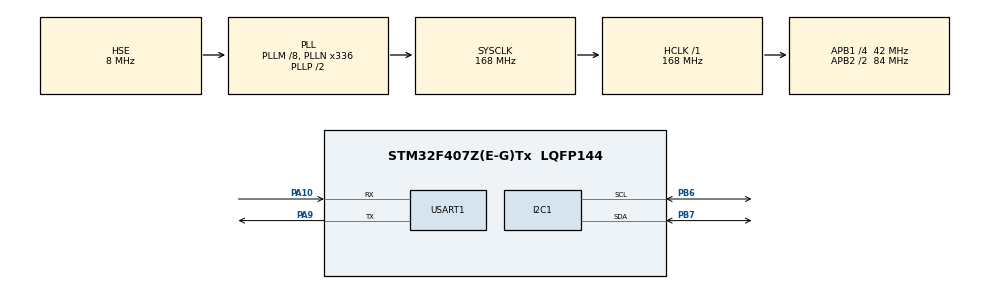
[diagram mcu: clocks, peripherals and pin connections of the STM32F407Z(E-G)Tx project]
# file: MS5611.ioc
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I2C1.I2C_Mode=I2C_Standard
Mcu.Family=STM32F4
Mcu.Name=STM32F407Z(E-G)Tx
Mcu.Package=LQFP144
NVIC.PriorityGroup=NVIC_PRIORITYGROUP_4
PA10.Mode=Asynchronous
PA10.Signal=USART1_RX
PA9.Mode=Asynchronous
PA9.Signal=USART1_TX
PB6.Mode=I2C
PB6.Signal=I2C1_SCL
PB7.Mode=I2C
PB7.Signal=I2C1_SDA
PH0-OSC_IN.Mode=HSE-External-Oscillator
PH0-OSC_IN.Signal=RCC_OSC_IN
PH1-OSC_OUT.Mode=HSE-External-Oscillator
PH1-OSC_OUT.Signal=RCC_OSC_OUT
ProjectManager.HeapSize=0x200
ProjectManager.StackSize=0x400
ProjectManager.TargetToolchain=MDK-ARM V5.27
RCC.48MHZClocksFreq_Value=84000000
RCC.AHBFreq_Value=168000000
RCC.APB1CLKDivider=RCC_HCLK_DIV4
RCC.APB1Freq_Value=42000000
RCC.APB1TimFreq_Value=84000000
RCC.APB2CLKDivider=RCC_HCLK_DIV2
RCC.APB2Freq_Value=84000000
RCC.APB2TimFreq_Value=168000000
RCC.CortexFreq_Value=168000000
RCC.HCLKFreq_Value=168000000
RCC.HSE_VALUE=8000000
RCC.HSI_VALUE=16000000
RCC.LSE_VALUE=32768
RCC.PLLM=8
RCC.PLLN=336
RCC.PLLSourceVirtual=RCC_PLLSOURCE_HSE
RCC.SYSCLKFreq_VALUE=168000000
RCC.SYSCLKSource=RCC_SYSCLKSOURCE_PLLCLK
RCC.VCOOutputFreq_Value=336000000
USART1.VirtualMode=VM_ASYNC
board=custom

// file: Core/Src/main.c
/* USER CODE BEGIN Header */
/**
  ******************************************************************************
  * @file           : main.c
  * @brief          : Main program body
  ******************************************************************************
  * @attention
  *
  * <h2><center>&copy; Copyright (c) 2021 STMicroelectronics.
  * All rights reserved.</center></h2>
  *
  * This software component is licensed by ST under BSD 3-Clause license,
  * the "License"; You may not use this file except in compliance with the
  * License. You may obtain a copy of the License at:
  *                        opensource.org/licenses/BSD-3-Clause
  *
  ******************************************************************************
  */
/* USER CODE END Header */
#include "main.h"
#include "i2c.h"
#include "usart.h"
#include "gpio.h"

/* USER CODE BEGIN Includes */
#include "math.h"
/* USER CODE END Includes */

/* USER CODE BEGIN PTD */
#define  MS561101BA_SlaveAddress 	(0x77)  //定义器件在IIC总线中的从地址
#define  MS561101BA_D1 				(0x40)
#define  MS561101BA_D2 				(0x50)
#define  MS561101BA_RST 			(0x1E)
#define  MS561101BA_PROM_RD 		(0xA0) 	//出厂校准值起始地址

uint16_t Cal_C[8];

uint32_t D1_Pres,D2_Temp; 	// 存放数字压力和温度
double dT , Temperature , T2;	//实际和参考温度之间的差异,实际温度,中间值

double Pressure;					//温度补偿大气压
double OFF , SENS;  			//实际温度抵消,实际温度灵敏度
double Aux , OFF2 , SENS2;  		//温度校验值
double MS5611_Pressure;
static double Alt_offset_Pa=1013.25;
double paOffsetNum = 0;
uint16_t  paInitCnt=0;
uint8_t paOffsetInited=0;

/* USER CODE END PTD */

void SystemClock_Config(void);

/* USER CODE BEGIN 0 */
uint8_t MS5611_Write(uint8_t addr,uint8_t commnd,uint8_t len)
{
     HAL_I2C_Master_Transmit(&hi2c1, (addr<<1), &commnd, len, 0xfff);
     return 0;
}

uint8_t MS5611_Read_Len(uint8_t addr, uint8_t *buf, uint8_t len)
{
    HAL_I2C_Master_Receive(&hi2c1, (addr<<1), buf, len, 0xfff);
    return 0;
}

uint8_t MS561101BA_RESET(void)
{
	uint8_t res;
	MS5611_Write(MS561101BA_SlaveAddress,MS561101BA_RST,1);
	return res;
}

uint8_t MS561101BA_READ_PROM(void)
{
	uint8_t buf[2],i;

	for(i=0;i<8;i++)
	{
		MS5611_Write(MS561101BA_SlaveAddress,MS561101BA_PROM_RD+i*2,1);
		MS5611_Read_Len(MS561101BA_SlaveAddress,buf,2);
		Cal_C[i]=buf[0]<<8 | buf[1];
		printf("Cal_C[%d]=%d\r\n",i,Cal_C[i]);
	}
	return (Cal_C[0]);
}

uint8_t MS5611_CRC(uint16_t *prom)
{
    int32_t i, j;
    uint32_t res = 0;
    uint8_t zero = 1;
    uint8_t crc = prom[7] & 0xF;
    prom[7] &= 0xFF00;

    // if eeprom is all zeros, we're probably fucked - BUT this will return valid CRC lol
    for (i = 0; i < 8; i++)
	{
        if (prom[i] != 0)
            zero = 0;
    }

    if (zero)
        return 1;

    for (i = 0; i < 16; i++) {
        if (i & 1)
            res ^= ((prom[i >> 1]) & 0x00FF);
        else
            res ^= (prom[i >> 1] >> 8);
        for (j = 8; j > 0; j--) {
            if (res & 0x8000)
                res ^= 0x1800;
            res <<= 1;
        }
    }

    prom[7] |= crc;
    if (crc == ((res >> 12) & 0xF))
        return 0;
	return 1;
}

uint32_t MS561101BA_DO_CONVERSION(uint8_t command)
{
	uint32_t conversion = 0x00;
	uint8_t conv[3];

	MS5611_Write(MS561101BA_SlaveAddress,command,1);
	HAL_Delay(12);
	MS5611_Write(MS561101BA_SlaveAddress,0x00,1);

	MS5611_Read_Len(MS561101BA_SlaveAddress,conv,3);
	conversion = (conv[0] << 16) + (conv[1] << 8) + conv[2];

	return conversion;
}

//读取数字温度AD转换值,计算温度
void MS561101BA_GetTemperature(uint8_t OSR_Temp)
{
	D2_Temp = MS561101BA_DO_CONVERSION(OSR_Temp);
	HAL_Delay(12);		//8497614

//警告：当温度低于20度，计算的大气压力不正确的解决方法

	//上面2行代码，当温度值高于等于20度时，计算的压力值正确。
	//但是上面2行代码，当温度值低于20度时，有问题。因为D2_Temp和Cal_C[5] )都是无符号数，
	//无符号数之间使用减法，没法得到负值，所以必须要按照下述代码修改一下。

	if (D2_Temp > (((uint32_t)Cal_C[5]) << 8 ))
	{
		dT	= D2_Temp - (((uint32_t)Cal_C[5]) << 8 );
//		T2 = 0;
	}
	else
	{
		dT	= ((( uint32_t)Cal_C[5]) << 8) - D2_Temp;
//		T2 = (dT * dT)/(double)2147483648.0;
		dT *= -1;
	}

	Temperature =  (double)(2000 + dT*((uint32_t)Cal_C[6])/(double)8388608.0);
//	Temperature = Temperature - T2;
	//printf("Temperature = %lf\r\n",Temperature);
	//Temperature = (float)(2000 + dT*((uint32_t)Cal_C[6])/(float)8388608.0);//算出温度值的100倍，2001表示20.01°
}

void MS561101BA_GetPressure(uint8_t OSR_Pres)
{
	D1_Pres = MS561101BA_DO_CONVERSION(OSR_Pres);
	//MS5611_delay_ms(10);
	HAL_Delay(12);
	OFF =  (uint32_t)(Cal_C[2] << 16) + ((uint32_t)Cal_C[4] * dT) / 128;
	SENS = (uint32_t)(Cal_C[1] << 15) + ((uint32_t)Cal_C[3] * dT) / 256;

	//温度补偿
	if (Temperature < 2000)	// second order temperature compensation when under 20 degrees C
	{
		T2 = (dT*dT) / 0x80000000;
		Aux = (Temperature - 2000)*(Temperature - 2000);
		OFF2 = (double)(2.5)*Aux;
		SENS2 = (double)(1.25)*Aux;
		if (Temperature < -1500)
		{
			Aux = (Temperature + 1500)*(Temperature + 1500);
			OFF2 = OFF2 + 7 * Aux;
			SENS2 = SENS + (float)(5.5)*Aux;
		}
	}
	else //(Temperature > 2000)
	{
		T2 = 0;
		OFF2 = 0;
		SENS2 = 0;
	}

	Temperature -= T2;
	OFF = OFF - OFF2;
	SENS = SENS - SENS2;
	Pressure = (D1_Pres * SENS / 2097152 - OFF)/32768;
	MS5611_Pressure = Pressure / (double)(100.0);
	printf("Temperature=%lf\r\n",Temperature);
	printf("Pressure = %lf\r\n",MS5611_Pressure);
}

/* USER CODE END 0 */

int main(void)
{
  /* USER CODE BEGIN 1 */
	uint8_t Result;
	double Altitude;
  /* USER CODE END 1 */

  /* MCU Configuration--------------------------------------------------------*/

  /* Reset of all peripherals, Initializes the Flash interface and the Systick. */
  HAL_Init();

  /* Configure the system clock */
  SystemClock_Config();

  /* Initialize all configured peripherals */
  MX_GPIO_Init();
  MX_I2C1_Init();
  MX_USART1_UART_Init();
  /* USER CODE BEGIN 2 */
	MS561101BA_RESET();
	HAL_Delay(100);

	MS561101BA_READ_PROM();
	HAL_Delay(100);
	Result=MS5611_CRC(Cal_C);
	if(Result==0)
	{
		printf("气压计校准成功\r\n");
	}
  /* USER CODE END 2 */

  /* Infinite loop */
  /* USER CODE BEGIN WHILE */
  while (1)
  {
		//temp = MS561101BA_DO_CONVERSION(0x48);
		//HAL_Delay(500);
		//mol = MS561101BA_DO_CONVERSION(0x58);
		HAL_Delay(500);
		MS561101BA_GetTemperature(0x58);
		MS561101BA_GetPressure(0x48);

    Altitude = 4433000.0f * (1 - powf((((double) MS5611_Pressure) / Alt_offset_Pa), 0.190295f));
		printf("Altitude = %lfcm\r\n",Altitude);
    /* USER CODE END WHILE */

  }
}

void SystemClock_Config(void)
{
  RCC_OscInitTypeDef RCC_OscInitStruct = {0};
  RCC_ClkInitTypeDef RCC_ClkInitStruct = {0};

  /** Configure the main internal regulator output voltage
  */
  __HAL_RCC_PWR_CLK_ENABLE();
  __HAL_PWR_VOLTAGESCALING_CONFIG(PWR_REGULATOR_VOLTAGE_SCALE1);
  /** Initializes the RCC Oscillators according to the specified parameters
  * in the RCC_OscInitTypeDef structure.
  */
  RCC_OscInitStruct.OscillatorType = RCC_OSCILLATORTYPE_HSE;
  RCC_OscInitStruct.HSEState = RCC_HSE_ON;
  RCC_OscInitStruct.PLL.PLLState = RCC_PLL_ON;
  RCC_OscInitStruct.PLL.PLLSource = RCC_PLLSOURCE_HSE;
  RCC_OscInitStruct.PLL.PLLM = 8;
  RCC_OscInitStruct.PLL.PLLN = 336;
  RCC_OscInitStruct.PLL.PLLP = RCC_PLLP_DIV2;
  RCC_OscInitStruct.PLL.PLLQ = 4;
  if (HAL_RCC_OscConfig(&RCC_OscInitStruct) != HAL_OK)
  {
    Error_Handler();
  }
  /** Initializes the CPU, AHB and APB buses clocks
  */
  RCC_ClkInitStruct.ClockType = RCC_CLOCKTYPE_HCLK|RCC_CLOCKTYPE_SYSCLK
                              |RCC_CLOCKTYPE_PCLK1|RCC_CLOCKTYPE_PCLK2;
  RCC_ClkInitStruct.SYSCLKSource = RCC_SYSCLKSOURCE_PLLCLK;
  RCC_ClkInitStruct.AHBCLKDivider = RCC_SYSCLK_DIV1;
  RCC_ClkInitStruct.APB1CLKDivider = RCC_HCLK_DIV4;
  RCC_ClkInitStruct.APB2CLKDivider = RCC_HCLK_DIV2;

  if (HAL_RCC_ClockConfig(&RCC_ClkInitStruct, FLASH_LATENCY_5) != HAL_OK)
  {
    Error_Handler();
  }
}

void Error_Handler(void)
{
  __disable_irq();
  while (1)
  {
  }
}

/************************ (C) COPYRIGHT STMicroelectronics *****END OF FILE****/
